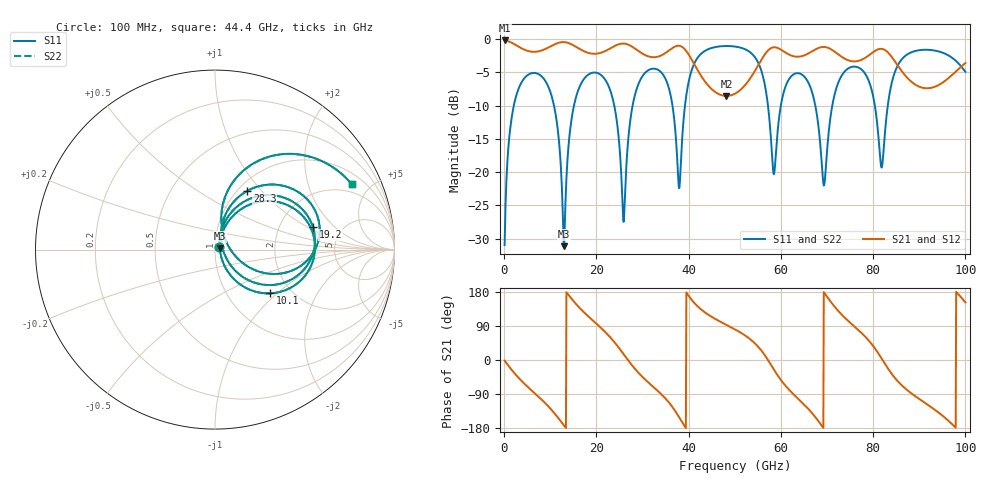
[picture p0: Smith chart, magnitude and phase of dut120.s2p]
! Touchstone file exported from HFSS 2026.1.0
!  File:  C:/ffzhzh/LocalFiles/Ansys_Project_Files/temp_train_TSV_RDL_120_1783458855_50928.aedt
!  Generated:  05:40:47 AM Jul  8, 2026
!  Design:  TSV_RDL
!  Project:  temp_train_TSV_RDL_120_1783458855_50928
! Variables:
!  h_bsmrdl = 4.43um
!  h_ox = 20um
!  h_rdl = 5um
!  h_sub = 75.57um
!  h_tmrdl = 4.04um
!  h_tsv = 75.57um
!  h_via = 3um
!  l_bsmrdl = 395um
!  l_sub = 4439.8um
!  l_tmrdl = 687.45um
!  m_sub = 200um
!  pitch = 46.18um
!  r_tsv = 9.62um
!  s_tmrdl = 10um
!  w_bsmrdl = 20.55um
!  w_sub = 500um
!  w_tmrdl = 14.45um
!  x_tsv_center1 = 694.675um
!  x_tsv_center2 = 1110.225um
!  x_tsv_center3 = 1812.125um
!  x_tsv_center4 = 2227.675um
!  x_tsv_center5 = 2929.575um
!  x_tsv_center6 = 3345.125um
# GHz S MA R 50.000000
! Terminal data exported
! Port[1] = TM_RDL1_1_T1
! Port[2] = TM_RDL5_1_T1
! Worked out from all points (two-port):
!   1000 points, 100 MHz to 100 GHz, reference 50 ohm
!   highest |S21| = -0.20 dB at 100 MHz (marker M1); lowest = -8.5 dB at 48.2 GHz (marker M2)
!   |S21| within 3 dB of the highest: start of sweep to 40.76 GHz; 55.69 GHz to 74.68 GHz (18.99 GHz wide, 29.1 % of centre)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
!   lowest |S11| = -31.1 dB at 13 GHz (marker M3), VSWR 1.06, Z = 52.7 + j0.821 ohm
!   |S11| at or under -10 dB: 10.81 GHz to 15.13 GHz (4.322 GHz wide, 33.3 % of centre); 23.88 GHz to 27.85 GHz (3.971 GHz wide, 15.4 % of centre); 67.47 GHz to 71.14 GHz (3.671 GHz wide, 5.3 % of centre)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
!   |S22| runs from -31.3 to -1.0 dB; largest |S21 - S12| = 1.8e-13
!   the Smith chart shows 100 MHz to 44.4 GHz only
!   S11 on the Smith chart (normalised r, x): 100 MHz: 1.05, +0.04; 10.1 GHz: 1.57, -0.91; 19.2 GHz: 3.08, +1.14; 28.3 GHz: 1.10, +0.84; 44.4 GHz: 1.51, +3.85
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0.1  0.02833 37.0  0.9777 -1.7  0.9777 -1.7  0.02833 37.0
! Gamma 0 0 0 0
! Port Impedance 50 0 50 0
3  0.4125 41.0  0.8839 -45.3  0.8839 -45.3  0.4125 41.0
10.1  0.3932 -38.3  0.8845 -129.2  0.8845 -129.2  0.3932 -38.3
13  0.02781 16.2  0.9503 -173.1  0.9503 -173.1  0.02724 16.3
16.8  0.4715 38.6  0.8282 131.9  0.8282 131.9  0.4715 38.7
19.2  0.5597 13.1  0.7772 104.5  0.7772 104.5  0.5596 13.2
25.9  0.04239 15.0  0.9262 15.4  0.9262 15.4  0.0431 15.1
28.3  0.374 61.2  0.8527 -22.4  0.8527 -22.4  0.3741 61.1
33.4  0.5872 7.8  0.7398 -82.6  0.7398 -82.6  0.5872 7.8
37.9  0.07584 18.8  0.8919 -150.3  0.8919 -150.3  0.07638 18.8
44.4  0.8448 25.5  0.4418 118.4  0.4418 118.4  0.8449 25.5
48.2  0.8879 2.2  0.3743 92.7  0.3743 92.7  0.8879 2.1
50.1  0.8793 -8.8  0.3902 80.5  0.3902 80.5  0.8793 -8.9
57.9  0.1672 -67.2  0.858 -13.8  0.858 -13.8  0.166 -67.8
61  0.4405 14.8  0.7928 -68.0  0.7928 -68.0  0.4404 15.0
66.7  0.4055 -42.5  0.8079 -139.3  0.8079 -139.3  0.4056 -42.4
69.4  0.08014 4.8  0.8742 177.4  0.8742 177.4  0.08033 4.8
74.6  0.6025 10.5  0.6937 103.1  0.6937 103.1  0.6027 10.5
81.8  0.1085 -2.0  0.8458 4.7  0.8458 4.7  0.1095 -2.1
83.4  0.3603 46.5  0.7821 -25.7  0.7821 -25.7  0.3602 46.3
90.5  0.83 -18.1  0.4332 -107.1  0.4332 -107.1  0.8299 -18.2
100  0.5674 -112.3  0.6617 152.0  0.6617 152.0  0.5674 -112.2
